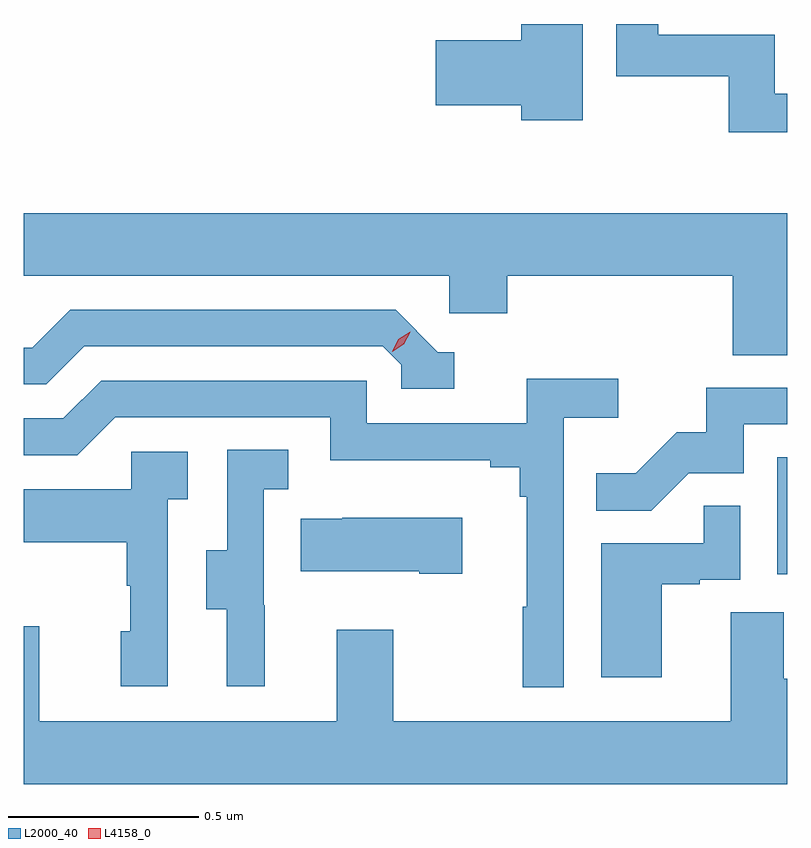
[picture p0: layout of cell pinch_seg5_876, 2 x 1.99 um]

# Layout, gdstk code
import gdstk
lib = gdstk.Library(unit=1e-6, precision=1e-09)
def R(c, l, rs):  # rectangles x0, y0, x1, y1
    for r in rs: c.add(gdstk.rectangle(r[:2], r[2:], *l))
def P(c, l, *ps):  # polygons
    for p in ps: c.add(gdstk.Polygon(p, *l))
L2000_40 = (2000, 40)
L4158_0 = (4158, 0)

pinch_seg5_876 = lib.new_cell('pinch_seg5_876')
R(pinch_seg5_876, L2000_40, [(854.228,881.286,854.253,881.593)])
P(pinch_seg5_876, L2000_40, [(853.717,882.728),(853.556,882.728),(853.556,882.686),(853.332,882.686),(853.332,882.515),(853.556,882.515),(853.556,882.476),(853.717,882.476)],
  [(854.253,882.545),(854.221,882.545),(854.221,882.7),(853.916,882.7),(853.916,882.728),(853.806,882.728),(853.806,882.591),(854.1,882.591),(854.1,882.444),(854.253,882.444)],
  [(854.253,882.232),(852.253,882.232),(852.253,882.068),(853.368,882.068),(853.368,881.97),(853.52,881.97),(853.52,882.068),(854.111,882.068),(854.111,881.86),(854.253,881.86)],
  [(853.381,881.868),(853.338,881.868),(853.227,881.979),(852.374,881.979),(852.275,881.88),(852.253,881.88),(852.253,881.784),(852.312,881.784),(852.411,881.883),(853.194,881.883),(853.242,881.835),(853.242,881.772),(853.381,881.772)],
  [(853.668,881.696),(853.81,881.696),(853.81,881.798),(853.571,881.798),(853.571,881.682),(853.152,881.682),(853.152,881.793),(852.455,881.793),(852.356,881.694),(852.253,881.694),(852.253,881.598),(852.393,881.598),(852.492,881.697),(853.056,881.697),(853.056,881.585),(853.475,881.585),(853.475,881.566),(853.552,881.566),(853.552,881.489),(853.571,881.489),(853.571,881.201),(853.56,881.201),(853.56,880.989),(853.668,880.989)],
  [(853.995,881.55),(854.139,881.55),(854.139,881.679),(854.253,881.679),(854.253,881.775),(854.041,881.775),(854.041,881.658),(853.964,881.658),(853.857,881.551),(853.753,881.551),(853.753,881.452),(853.897,881.452)],
  [(852.884,881.205),(852.882,881.205),(852.882,881.509),(852.946,881.509),(852.946,881.612),(852.786,881.612),(852.786,881.349),(852.731,881.349),(852.731,881.194),(852.785,881.194),(852.785,880.992),(852.884,880.992)],
  [(852.63,881.483),(852.682,881.483),(852.682,881.607),(852.534,881.607),(852.534,881.509),(852.253,881.509),(852.253,881.369),(852.522,881.369),(852.522,881.255),(852.532,881.255),(852.532,881.136),(852.506,881.136),(852.506,880.992),(852.63,880.992)],
  [(853.924,881.259),(854.024,881.259),(854.024,881.271),(854.13,881.271),(854.13,881.465),(854.035,881.465),(854.035,881.367),(853.766,881.367),(853.766,881.016),(853.924,881.016)],
  [(853.402,881.434),(853.087,881.434),(853.087,881.431),(852.979,881.431),(852.979,881.294),(853.289,881.294),(853.289,881.287),(853.402,881.287)],
  [(854.253,881.012),(854.245,881.012),(854.245,881.186),(854.105,881.186),(854.105,880.9),(853.221,880.9),(853.221,881.14),(853.073,881.14),(853.073,880.9),(852.293,880.9),(852.293,881.149),(852.253,881.149),(852.253,880.736),(854.253,880.736)])
P(pinch_seg5_876, L4158_0, [(853.218,881.869),(853.218,881.869),(853.234,881.902),(853.265,881.921),(853.266,881.921),(853.266,881.92),(853.249,881.888),(853.218,881.869)])

lib.write_gds('pinch_seg5_876.gds')
